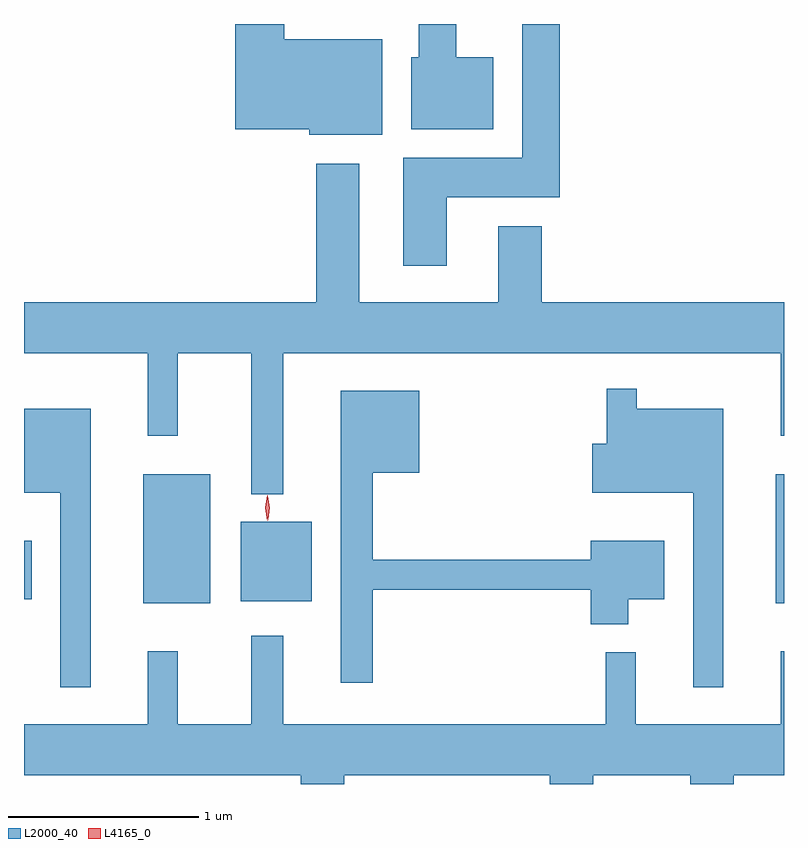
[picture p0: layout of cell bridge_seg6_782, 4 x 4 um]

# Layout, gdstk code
import gdstk
lib = gdstk.Library(unit=1e-6, precision=1e-09)
def R(c, l, rs):  # rectangles x0, y0, x1, y1
    for r in rs: c.add(gdstk.rectangle(r[:2], r[2:], *l))
def P(c, l, *ps):  # polygons
    for p in ps: c.add(gdstk.Polygon(p, *l))
L2000_40 = (2000, 40)
L4165_0 = (4165, 0)

bridge_seg6_782 = lib.new_cell('bridge_seg6_782')
R(bridge_seg6_782, L2000_40, [(516.331,1548.721,516.684,1549.399), (519.661,1548.721,519.704,1549.399), (516.846,1548.731,517.219,1549.149), (515.704,1548.741,515.744,1549.049)])
P(bridge_seg6_782, L2000_40, [(518.174,1551.594),(517.979,1551.594),(517.979,1551.769),(517.781,1551.769),(517.781,1551.594),(517.741,1551.594),(517.741,1551.216),(518.174,1551.216)],
  [(517.929,1550.856),(518.524,1550.856),(518.524,1551.769),(518.326,1551.769),(518.326,1551.064),(517.701,1551.064),(517.701,1550.496),(517.929,1550.496)],
  [(517.589,1551.689),(517.074,1551.689),(517.074,1551.769),(516.816,1551.769),(516.816,1551.216),(517.206,1551.216),(517.206,1551.186),(517.589,1551.186)],
  [(517.069,1550.036),(519.686,1550.036),(519.686,1549.603),(519.704,1549.603),(519.704,1550.304),(518.429,1550.304),(518.429,1550.704),(518.201,1550.704),(518.201,1550.304),(517.469,1550.304),(517.469,1551.034),(517.241,1551.034),(517.241,1550.304),(515.704,1550.304),(515.704,1550.036),(516.356,1550.036),(516.356,1549.603),(516.514,1549.603),(516.514,1550.036),(516.901,1550.036),(516.901,1549.293),(517.069,1549.293)],
  [(519.384,1549.744),(518.929,1549.744),(518.929,1549.848),(518.771,1549.848),(518.771,1549.559),(518.696,1549.559),(518.696,1549.301),(519.226,1549.301),(519.226,1548.278),(519.384,1548.278)],
  [(517.539,1548.791),(518.686,1548.791),(518.686,1548.611),(518.884,1548.611),(518.884,1548.741),(519.074,1548.741),(519.074,1549.049),(518.686,1549.049),(518.686,1548.949),(517.539,1548.949),(517.539,1549.406),(517.784,1549.406),(517.784,1549.839),(517.371,1549.839),(517.371,1548.303),(517.539,1548.303)],
  [(516.054,1549.744),(515.704,1549.744),(515.704,1549.301),(515.896,1549.301),(515.896,1548.278),(516.054,1548.278)],
  [(517.389,1547.816),(518.471,1547.816),(518.471,1547.769),(518.699,1547.769),(518.699,1547.816),(519.211,1547.816),(519.211,1547.769),(519.439,1547.769),(519.439,1547.816),(519.704,1547.816),(519.704,1548.468),(519.686,1548.468),(519.686,1548.084),(518.924,1548.084),(518.924,1548.463),(518.766,1548.463),(518.766,1548.084),(517.069,1548.084),(517.069,1548.548),(516.901,1548.548),(516.901,1548.084),(516.514,1548.084),(516.514,1548.468),(516.356,1548.468),(516.356,1548.084),(515.704,1548.084),(515.704,1547.816),(517.161,1547.816),(517.161,1547.769),(517.389,1547.769)])
P(bridge_seg6_782, L4165_0, [(516.983,1549.154),(516.983,1549.154),(516.973,1549.222),(516.983,1549.29),(516.983,1549.29),(516.984,1549.29),(516.993,1549.222),(516.984,1549.154)],
  [(516.989,1549.158),(516.989,1549.159),(516.978,1549.222),(516.986,1549.287),(516.986,1549.287),(516.987,1549.287),(516.998,1549.223),(516.99,1549.159)])

lib.write_gds('bridge_seg6_782.gds')
